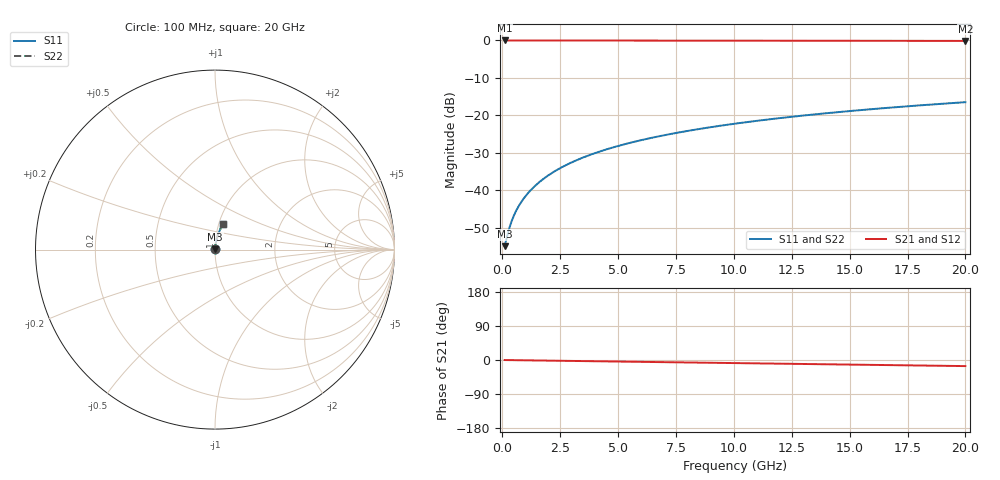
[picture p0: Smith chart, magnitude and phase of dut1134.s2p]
! Touchstone file exported from HFSS 2026.1.0
!  File:  C:/ffzhzh/LocalFiles/Ansys_Project_Files/temp_train_TMRDL_1134_1783161845_22436.aedt
!  Generated:  06:45:18 PM Jul  4, 2026
!  Design:  TMRDL
!  Project:  temp_train_TMRDL_1134_1783161845_22436
! Variables:
!  h_bsmrdl = 2um
!  h_ox = 20um
!  h_rdl = 5um
!  h_sub = 80um
!  h_tmrdl = 2.24um
!  h_tsv = 80um
!  h_via = 3um
!  l_bsmrdl = 300um
!  l_sub = 600.88um
!  l_tmrdl = 200.88um
!  m_sub = 200um
!  pitch = 49.44um
!  r_tsv = 6um
!  s_tmrdl = 10um
!  w_bsmrdl = 18um
!  w_sub = 500um
!  w_tmrdl = 28.01um
!  x_tsv_center1 = 214.885um
!  x_tsv_center2 = 532.885um
!  x_tsv_center3 = 761.775um
!  x_tsv_center4 = 1079.775um
!  x_tsv_center5 = 1308.665um
!  x_tsv_center6 = 1626.665um
# GHz S MA R 50.000000
! Terminal data exported
! Port[1] = TM_RDL1_1_T1
! Port[2] = TM_RDL1_1_T2
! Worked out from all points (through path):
!   200 points, 100 MHz to 20 GHz, reference 50 ohm
!   highest |S21| = -0.01 dB at 100 MHz (marker M1); lowest = -0.1 dB at 20 GHz (marker M2)
!   group delay of S21, straight-line fit = 2.24 ps
!   lowest |S11| = -54.9 dB at 100 MHz (marker M3), VSWR 1.00, Z = 50.2 + j0.0886 ohm
!   |S11| at or under -10 dB: start of sweep to end of sweep
!   |S22| runs from -54.9 to -16.5 dB; largest |S21 - S12| = 2.7e-15
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0.1  0.001794 29.5  0.9984 -0.1  0.9984 -0.1  0.001794 29.5
! Gamma 0 0 0 0
! Port Impedance 50 0 50 0
0.2  0.002381 47.3  0.9984 -0.2  0.9984 -0.2  0.002381 47.3
0.3  0.003091 56.9  0.9983 -0.3  0.9983 -0.3  0.003091 56.9
0.4  0.003835 62.6  0.9982 -0.3  0.9982 -0.3  0.003835 62.6
0.5  0.004584 66.3  0.9982 -0.4  0.9982 -0.4  0.004584 66.3
0.6  0.005333 68.9  0.9981 -0.5  0.9981 -0.5  0.005333 68.9
0.8  0.006825 72.6  0.998 -0.7  0.998 -0.7  0.006825 72.6
1.1  0.00907 76.0  0.9979 -0.9  0.9979 -0.9  0.00907 76.0
1.3  0.01058 77.5  0.9979 -1.1  0.9979 -1.1  0.01058 77.5
1.6  0.01285 79.1  0.9978 -1.3  0.9978 -1.3  0.01285 79.1
2.1  0.01667 80.8  0.9977 -1.7  0.9977 -1.7  0.01667 80.8
2.7  0.02128 81.8  0.9975 -2.2  0.9975 -2.2  0.02128 81.8
3.5  0.02744 82.3  0.9973 -2.9  0.9973 -2.9  0.02744 82.3
4.2  0.03283 82.4  0.9971 -3.4  0.9971 -3.4  0.03283 82.4
5  0.03899 82.3  0.9968 -4.1  0.9968 -4.1  0.03899 82.3
5.9  0.0459 82.0  0.9964 -4.8  0.9964 -4.8  0.0459 82.0
6.8  0.05279 81.5  0.9959 -5.6  0.9959 -5.6  0.05279 81.5
8.3  0.0642 80.6  0.995 -6.8  0.995 -6.8  0.0642 80.6
10.1  0.07779 79.4  0.9938 -8.2  0.9938 -8.2  0.07779 79.4
13.4  0.1023 77.1  0.9911 -10.9  0.9911 -10.9  0.1023 77.1
16.7  0.1263 74.6  0.9878 -13.5  0.9878 -13.5  0.1263 74.6
20  0.1498 72.1  0.984 -16.1  0.984 -16.1  0.1498 72.1
